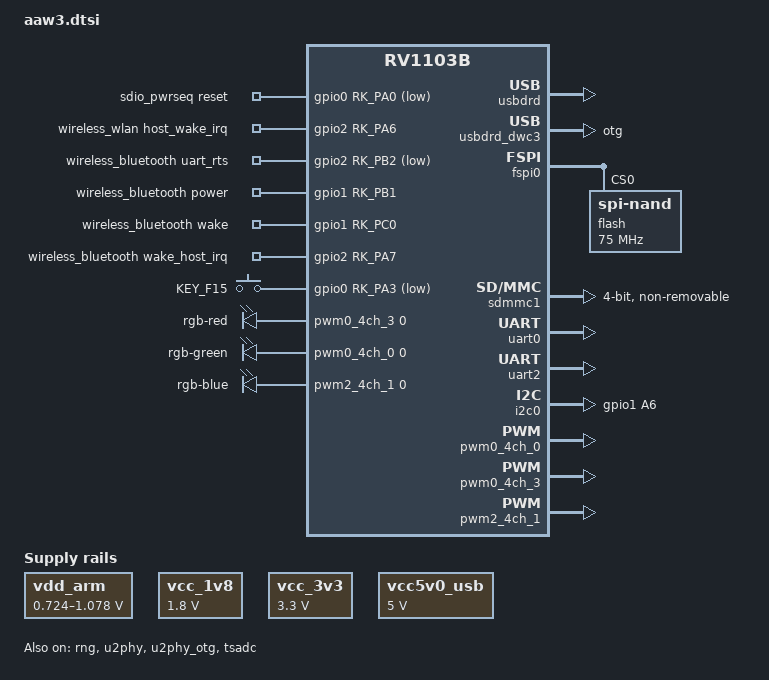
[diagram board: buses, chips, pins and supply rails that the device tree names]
// SPDX-License-Identifier: (GPL-2.0+ OR MIT)

/dts-v1/;

#include "rv1103b.dtsi"
#include <dt-bindings/input/input.h>

/ {
	compatible = "rockchip,aaw3", "rockchip,rv1103b";

	chosen {
		bootargs = "rk_dma_heap_cma=8M console=ttyS0,115200 earlycon=uart8250,mmio32,0x20540000 net.ifnames=0 biosdevname=0";
	};

	vdd_arm: vdd-arm {
		compatible = "regulator-fixed";
		regulator-name = "vdd_arm";
		regulator-min-microvolt = <724000>;
		regulator-max-microvolt = <1078000>;
		regulator-init-microvolt = <950000>;
		regulator-always-on;
		regulator-boot-on;
		regulator-settling-time-up-us = <250>;
	};

	vcc_1v8: vcc-1v8 {
		compatible = "regulator-fixed";
		regulator-name = "vcc_1v8";
		regulator-always-on;
		regulator-boot-on;
		regulator-min-microvolt = <1800000>;
		regulator-max-microvolt = <1800000>;
	};

	vcc_3v3: vcc-3v3 {
		compatible = "regulator-fixed";
		regulator-name = "vcc_3v3";
		regulator-always-on;
		regulator-boot-on;
		regulator-min-microvolt = <3300000>;
		regulator-max-microvolt = <3300000>;
	};

	vcc5v0_usb: vcc5v0-usb {
		compatible = "regulator-fixed";
		regulator-name = "vcc5v0_usb";
		regulator-always-on;
		regulator-boot-on;
		regulator-min-microvolt = <5000000>;
		regulator-max-microvolt = <5000000>;
	};

	sdio_pwrseq: sdio-pwrseq {
		compatible = "mmc-pwrseq-simple";
		pinctrl-names = "default";
		pinctrl-0 = <&wifi_enable>;
		reset-gpios = <&gpio0 RK_PA0 GPIO_ACTIVE_LOW>;
	};

	wireless_wlan: wireless-wlan {
		compatible = "wlan-platdata";
		pinctrl-names = "default";
		pinctrl-0 = <&wifi_wake_host>;
		WIFI,host_wake_irq = <&gpio2 RK_PA6 GPIO_ACTIVE_HIGH>;
		status = "okay";
	};

	wireless_bluetooth: wireless-bluetooth {
		compatible = "bluetooth-platdata";
		uart_rts_gpios = <&gpio2 RK_PB2 GPIO_ACTIVE_LOW>;
		BT,power_gpio = <&gpio1 RK_PB1 GPIO_ACTIVE_HIGH>;
		BT,wake_gpio = <&gpio1 RK_PC0 GPIO_ACTIVE_HIGH>;
		BT,wake_host_irq = <&gpio2 RK_PA7 GPIO_ACTIVE_HIGH>;
		pinctrl-names = "default", "rts_gpio";
		pinctrl-0 = <&uart2m1_rtsn_pins &uart2m1_ctsn_pins &bluetooth_enable>;
		pinctrl-1 = <&uart2m1_rtsn_gpio &bluetooth_enable>;
		status = "okay";
	};

	gpio_keys: gpio-keys {
		compatible = "gpio-keys";
		status = "okay";

		F15 {
			gpios = <&gpio0 RK_PA3 GPIO_ACTIVE_LOW>;
			label = "KEY_F15";
			linux,code = <KEY_F15>;
			linux,input-type = <1>;
			gpio-key,wakeup = <1>;
			debounce-interval = <5>;
			pinctrl-names = "default";
			pinctrl-0 = <&pwrbtn>;
		};
	};

	pwm_leds: pwm-leds {
		compatible = "pwm-leds";
		status = "okay";

		led-red {
			label = "rgb-red";
			pwms = <&pwm0_4ch_3 0 1000000 0>;
			linux,default-trigger = "none";
		};

		led-green {
			label = "rgb-green";
			pwms = <&pwm0_4ch_0 0 1000000 0>;
			linux,default-trigger = "default-on";
		};

		led-blue {
			label = "rgb-blue";
			pwms = <&pwm2_4ch_1 0 1000000 0>;
			linux,default-trigger = "none";
		};
	};
};

&rng {
	status = "okay";
};

&u2phy {
	status = "okay";
};

&u2phy_otg {
	status = "okay";
	vbus-supply = <&vcc5v0_usb>;
	rockchip,vbus-always-on;
};

&usbdrd {
	status = "okay";
};

&usbdrd_dwc3 {
	extcon = <&u2phy>;
	dr_mode = "otg";
	status = "okay";
};

&cpu0 {
	cpu-supply = <&vdd_arm>;
};

&fspi0 {
	status = "okay";

	flash@0 {
		compatible = "spi-nand";
		reg = <0>;
		spi-max-frequency = <75000000>;
		spi-rx-bus-width = <4>;
		spi-tx-bus-width = <1>;
	};
};

&pinctrl {
	gpio {
		uart2m1_rtsn_gpio: uart2m1-rtsn-gpio {
			rockchip,pins = <2 RK_PB2 RK_FUNC_GPIO &pcfg_pull_none>;
		};

		led_red_pin: led-red-pin {
			rockchip,pins = <0 RK_PA2 RK_FUNC_GPIO &pcfg_pull_none>;
		};

		led_green_pin: led-green-pin {
			rockchip,pins = <0 RK_PA1 RK_FUNC_GPIO &pcfg_pull_none>;
		};

		led_blue_pin: led-blue-pin {
			rockchip,pins = <1 RK_PB1 RK_FUNC_GPIO &pcfg_pull_none>;
		};

		mfi_reset: mfi-reset {
			rockchip,pins = <1 RK_PA6 RK_FUNC_GPIO &pcfg_pull_up>;
		};
	};

	sdio-pwrseq {
		wifi_enable: wifi-enable {
			rockchip,pins = <0 RK_PA0 RK_FUNC_GPIO &pcfg_pull_none>;
		};
	};

	wireless-wlan {
		wifi_wake_host: wifi-wake-host {
			rockchip,pins = <2 RK_PA6 RK_FUNC_GPIO &pcfg_pull_up>;
		};
	};

	wireless-bluetooth {
		bluetooth_enable: bluetooth-enable {
			rockchip,pins = <1 RK_PB1 RK_FUNC_GPIO &pcfg_pull_none>, <1 RK_PC0 RK_FUNC_GPIO &pcfg_pull_none>;
		};
	};

	key {
		pwrbtn: pwrbtn {
			rockchip,pins = <0 RK_PA3 RK_FUNC_GPIO &pcfg_pull_up>;
		};
	};
};

&sdmmc1 {
	max-frequency = <200000000>;
	bus-width = <4>;
	cap-sd-highspeed;
	cap-sdio-irq;
	keep-power-in-suspend;
	non-removable;
	rockchip,default-sample-phase = <90>;
	sd-uhs-sdr104;
	supports-sdio;
	mmc-pwrseq = <&sdio_pwrseq>;
	status = "okay";
};

&uart0 {
	status = "okay";
};

&uart2 {
	pinctrl-names = "default";
	pinctrl-0 = <&uart2m1_xfer_pins &uart2m1_ctsn_pins>;
	status = "okay";
};

&gpio0 {
	status = "okay";
};

&gpio1 {
	status = "okay";
};

&gpio2 {
	status = "okay";
};

&i2c0 {
	status = "okay";
	pinctrl-names = "default";
	pinctrl-0 = <&i2c0m1_xfer_pins &mfi_reset>;
};

&pwm0_4ch_0 {
	status = "okay";
};

&pwm0_4ch_3 {
	status = "okay";
};

&pwm2_4ch_1 {
	status = "okay";
};

&tsadc {
	status = "okay";
};
